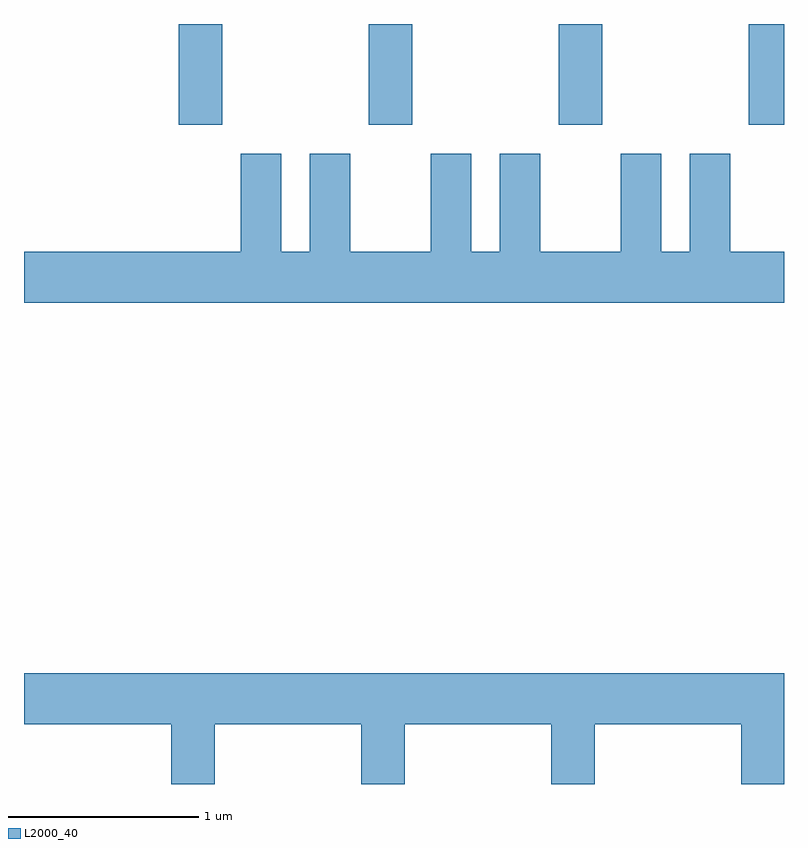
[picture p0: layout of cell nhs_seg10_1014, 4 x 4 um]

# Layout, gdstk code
import gdstk
lib = gdstk.Library(unit=1e-6, precision=1e-09)
def R(c, l, rs):  # rectangles x0, y0, x1, y1
    for r in rs: c.add(gdstk.rectangle(r[:2], r[2:], *l))
def A(c, l, x, y, w, h, nx, ny, dx, dy):  # array of equal rectangles
    R(c, l, [(x+i*dx, y+j*dy, x+i*dx+w, y+j*dy+h) for i in range(nx) for j in range(ny)])
def P(c, l, *ps):  # polygons
    for p in ps: c.add(gdstk.Polygon(p, *l))
L2000_40 = (2000, 40)

nhs_seg10_1014 = lib.new_cell('nhs_seg10_1014')
A(nhs_seg10_1014, L2000_40, 216.426, 2085.991, 0.228, 0.531, 3, 1, 1, 0)
R(nhs_seg10_1014, L2000_40, [(219.426,2085.991,219.611,2086.522)])
P(nhs_seg10_1014, L2000_40, [(219.611,2085.324),(219.329,2085.324),(219.329,2085.839),(219.116,2085.839),(219.116,2085.324),(218.964,2085.324),(218.964,2085.839),(218.751,2085.839),(218.751,2085.324),(218.329,2085.324),(218.329,2085.839),(218.116,2085.839),(218.116,2085.324),(217.964,2085.324),(217.964,2085.839),(217.751,2085.839),(217.751,2085.324),(217.329,2085.324),(217.329,2085.839),(217.116,2085.839),(217.116,2085.324),(216.964,2085.324),(216.964,2085.839),(216.751,2085.839),(216.751,2085.324),(215.611,2085.324),(215.611,2085.056),(219.611,2085.056)],
  [(216.614,2082.836),(217.386,2082.836),(217.386,2082.522),(217.614,2082.522),(217.614,2082.836),(218.386,2082.836),(218.386,2082.522),(218.614,2082.522),(218.614,2082.836),(219.386,2082.836),(219.386,2082.522),(219.611,2082.522),(219.611,2083.104),(215.611,2083.104),(215.611,2082.836),(216.386,2082.836),(216.386,2082.522),(216.614,2082.522)])

lib.write_gds('nhs_seg10_1014.gds')
